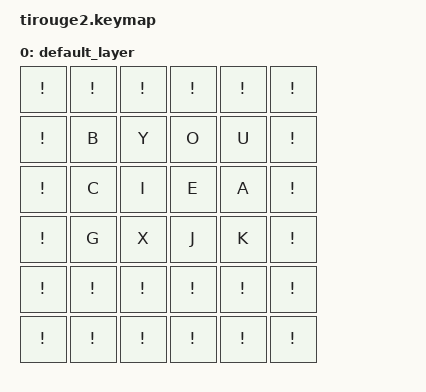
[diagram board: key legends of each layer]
#include <behaviors.dtsi>
#include <dt-bindings/zmk/keys.h>
#include <dt-bindings/zmk/bt.h>

/ {
    keymap {
        compatible = "zmk,keymap";

        default_layer {
            bindings = <
                &kp EXCLAMATION    &kp EXCLAMATION    &kp EXCLAMATION    &kp EXCLAMATION    &kp EXCLAMATION    &kp EXCLAMATION
                &kp EXCLAMATION    &kp B              &kp Y              &kp O              &kp U              &kp EXCLAMATION
                &kp EXCLAMATION    &kp C              &kp I              &kp E              &kp A              &kp EXCLAMATION
                &kp EXCLAMATION    &kp G              &kp X              &kp J              &kp K              &kp EXCLAMATION
                &kp EXCLAMATION    &kp EXCLAMATION    &kp EXCLAMATION    &kp EXCLAMATION    &kp EXCLAMATION    &kp EXCLAMATION
                &kp EXCLAMATION    &kp EXCLAMATION    &kp EXCLAMATION    &kp EXCLAMATION    &kp EXCLAMATION    &kp EXCLAMATION
            >;
        };
    };
};
